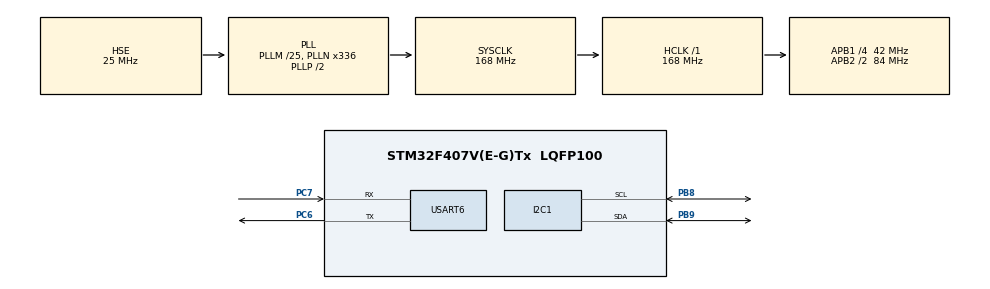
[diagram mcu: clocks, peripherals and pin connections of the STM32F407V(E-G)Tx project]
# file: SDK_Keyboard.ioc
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Mcu.Family=STM32F4
RCC.PLLSourceVirtual=RCC_PLLSOURCE_HSE
PH0-OSC_IN.Signal=RCC_OSC_IN
RCC.CortexFreq_Value=168000000
PC6.Signal=USART6_TX
RCC.APB1CLKDivider=RCC_HCLK_DIV4
RCC.SYSCLKSource=RCC_SYSCLKSOURCE_PLLCLK
ProjectManager.StackSize=0x400
PA13.Signal=SYS_JTMS-SWDIO
ProjectManager.TargetToolchain=STM32CubeIDE
PC6.Mode=Asynchronous
RCC.HCLKFreq_Value=168000000
PB9.Mode=I2C
RCC.APB2TimFreq_Value=168000000
PC7.Signal=USART6_RX
RCC.LSE_VALUE=32768
RCC.AHBFreq_Value=168000000
PH0-OSC_IN.Mode=HSE-External-Oscillator
RCC.HSE_VALUE=25000000
PB3.Mode=JTAG_5_pins
board=custom
RCC.VCOOutputFreq_Value=336000000
PA15.Mode=JTAG_5_pins
RCC.APB2Freq_Value=84000000
PB4.Mode=JTAG_5_pins
PA14.Mode=JTAG_5_pins
PH1-OSC_OUT.Signal=RCC_OSC_OUT
PA13.Mode=JTAG_5_pins
Mcu.Name=STM32F407V(E-G)Tx
PH1-OSC_OUT.Mode=HSE-External-Oscillator
RCC.48MHZClocksFreq_Value=84000000
PB3.Signal=SYS_JTDO-SWO
RCC.SYSCLKFreq_VALUE=168000000
Mcu.Package=LQFP100
PB9.Signal=I2C1_SDA
USART6.VirtualMode=VM_ASYNC
PA14.Signal=SYS_JTCK-SWCLK
PA15.Signal=SYS_JTDI
ProjectManager.HeapSize=0x200
RCC.HSI_VALUE=16000000
NVIC.PriorityGroup=NVIC_PRIORITYGROUP_4
RCC.APB2CLKDivider=RCC_HCLK_DIV2
RCC.PLLM=25
PB8.Mode=I2C
RCC.PLLN=336
RCC.APB1TimFreq_Value=84000000
PB8.Signal=I2C1_SCL
PC7.Mode=Asynchronous
RCC.APB1Freq_Value=42000000
PB4.Signal=SYS_JTRST

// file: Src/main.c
/* USER CODE BEGIN Header */
/**
  ******************************************************************************
  * @file           : main.c
  * @brief          : Main program body
  ******************************************************************************
  * @attention
  *
  * <h2><center>&copy; Copyright (c) 2019 STMicroelectronics.
  * All rights reserved.</center></h2>
  *
  * This software component is licensed by ST under BSD 3-Clause license,
  * the "License"; You may not use this file except in compliance with the
  * License. You may obtain a copy of the License at:
  *                        opensource.org/licenses/BSD-3-Clause
  *
  ******************************************************************************
  */
/* USER CODE END Header */

#include "main.h"
#include "i2c.h"
#include "usart.h"
#include "gpio.h"

/* USER CODE BEGIN Includes */
#include "kb.h"
#include "sdk_uart.h"
#include "pca9538.h"
#include "oled.h"
#include "fonts.h"
/* USER CODE END Includes */

void SystemClock_Config(void);
/* USER CODE BEGIN PFP */
void KB_Test( void );
void OLED_KB( uint8_t OLED_Keys[]);
void oled_Reset( void );
/* USER CODE END PFP */

int main(void)
{

  /* MCU Configuration--------------------------------------------------------*/

  /* Reset of all peripherals, Initializes the Flash interface and the Systick. */
  HAL_Init();

  /* Configure the system clock */
  SystemClock_Config();

  /* Initialize all configured peripherals */
  MX_GPIO_Init();
  MX_I2C1_Init();
  MX_USART6_UART_Init();
  /* USER CODE BEGIN 2 */
  oled_Init();

  /* USER CODE END 2 */

  /* Infinite loop */
  while (1)
  {

    /* USER CODE BEGIN 3 */
	  KB_Test();
	  HAL_Delay(500);

  }
  /* USER CODE END 3 */
}

void SystemClock_Config(void)
{
  RCC_OscInitTypeDef RCC_OscInitStruct = {0};
  RCC_ClkInitTypeDef RCC_ClkInitStruct = {0};

  /** Configure the main internal regulator output voltage
  */
  __HAL_RCC_PWR_CLK_ENABLE();
  __HAL_PWR_VOLTAGESCALING_CONFIG(PWR_REGULATOR_VOLTAGE_SCALE1);
  /** Initializes the CPU, AHB and APB busses clocks
  */
  RCC_OscInitStruct.OscillatorType = RCC_OSCILLATORTYPE_HSE;
  RCC_OscInitStruct.HSEState = RCC_HSE_ON;
  RCC_OscInitStruct.PLL.PLLState = RCC_PLL_ON;
  RCC_OscInitStruct.PLL.PLLSource = RCC_PLLSOURCE_HSE;
  RCC_OscInitStruct.PLL.PLLM = 25;
  RCC_OscInitStruct.PLL.PLLN = 336;
  RCC_OscInitStruct.PLL.PLLP = RCC_PLLP_DIV2;
  RCC_OscInitStruct.PLL.PLLQ = 4;
  if (HAL_RCC_OscConfig(&RCC_OscInitStruct) != HAL_OK)
  {
    Error_Handler();
  }
  /** Initializes the CPU, AHB and APB busses clocks
  */
  RCC_ClkInitStruct.ClockType = RCC_CLOCKTYPE_HCLK|RCC_CLOCKTYPE_SYSCLK
                              |RCC_CLOCKTYPE_PCLK1|RCC_CLOCKTYPE_PCLK2;
  RCC_ClkInitStruct.SYSCLKSource = RCC_SYSCLKSOURCE_PLLCLK;
  RCC_ClkInitStruct.AHBCLKDivider = RCC_SYSCLK_DIV1;
  RCC_ClkInitStruct.APB1CLKDivider = RCC_HCLK_DIV4;
  RCC_ClkInitStruct.APB2CLKDivider = RCC_HCLK_DIV2;

  if (HAL_RCC_ClockConfig(&RCC_ClkInitStruct, FLASH_LATENCY_5) != HAL_OK)
  {
    Error_Handler();
  }
}

/* USER CODE BEGIN 4 */
void KB_Test( void ) {
	UART_Transmit( (uint8_t*)"Timer start\n" );
	uint8_t R = 0, C = 0, L = 0, Row[4] = {0xF7, 0x7B, 0x3D, 0x1E}, Key,
			OldKey;
	uint8_t OLED_Digits[20] = {0x30,0x30,0x30,0x30,0x30,0x30,0x30,0x30,0x30,0x30,0x30,0x30};
	oled_Reset();
	oled_WriteString("Input time: ", Font_7x10, White);
	OLED_PREV_TIME(OLED_Digits, 1);

	oled_UpdateScreen();

	size_t cur_dig_num = 0;
	int update_time = 0;	// 0 - запуск таймера, 1 - начинаем ввод заново
	// Пока не нажали левую нижнюю кнопку, вводим число
	while (Check_Row(Row[0]) != 0x01) {
		if (cur_dig_num < 9) {
			for (uint8_t i = 1; i < 4; i++) {
				// Вводим цифры 1 - 9
				Key = Check_Row(Row[i]);
				if (Key != 0x00) {
					if (Key == 0x04) Key = 0x03;
					OLED_Digits[cur_dig_num] = (uint8_t)((3-i)*3 + (uint8_t)(0x04-Key+0x30));
					cur_dig_num++;
					OLED_PREV_TIME(OLED_Digits, cur_dig_num);
				}
			}

			// Вводим 0
			Key = Check_Row(Row[0]);
			if (Key == 0x02) {
				OLED_Digits[cur_dig_num] = 0x30;
				cur_dig_num++;
				OLED_PREV_TIME(OLED_Digits, cur_dig_num);
			}
		}
		Key = Check_Row(Row[0]);
		if (Key == 0x04) {
			update_time = 1;
			goto reset;
		}

		HAL_Delay(25);
	}

	while (1) {
		for (int i = 0; i < 40; i++) {
			Key = Check_Row(Row[0]);
			if (Key == 0x04) {
				update_time = 1;
				goto reset;
			}
			HAL_Delay(25);
		}
		decrease_digits(OLED_Digits, &cur_dig_num);
		OLED_PREV_TIME(OLED_Digits, cur_dig_num);
	}
	reset:

//	for ( int i = 0; i < 4; i++ ) {
//		while( !( R && C && L ) ) {
//			OldKey = Key;
//			Key = Check_Row( Row[i] );
//			if ( Key == 0x01 && Key != OldKey) {
//				UART_Transmit( (uint8_t*)"Right pressed\n" );
//				R = 1;
//				OLED_Keys[2+3*i] = 0x31;
//				OLED_KB(OLED_Keys);
//			} else if ( Key == 0x02 && Key != OldKey) {
//				UART_Transmit( (uint8_t*)"Center pressed\n" );
//				C = 1;
//				OLED_Keys[1+3*i] = 0x31;
//				OLED_KB(OLED_Keys);
//			} else if ( Key == 0x04 && Key != OldKey) {
//				UART_Transmit( (uint8_t*)"Left pressed\n" );
//				L = 1;
//				OLED_Keys[3*i] = 0x31;
//				OLED_KB(OLED_Keys);
//			}
//		}
//		R = C = L = 0;
//		HAL_Delay(25);
//	}
	UART_Transmit( (uint8_t*)"KB test complete\n");
}

int get_n_digits(int num) {
	if (num == 0)
		return 1;
	int res = 0;
	while (num > 0) {
		res++;
		num /= 10;
	}
	return res;
}

void decrease_digits(uint8_t *OLED_Digits, size_t *length) {
	int num = get_num_from_array(OLED_Digits, *length);
	num--;
	*length = (size_t)get_n_digits(num);
	get_array_from_num(OLED_Digits, *length, num);
}

int get_num_from_array(uint8_t *OLED_Digits, size_t length) {
	int res = 0;
	for (size_t i = 0; i < length; i++) {
		res = res * 10 + (OLED_Digits[i] - 0x30);
	}
	return res;
}

void get_array_from_num(uint8_t *OLED_Digits, size_t length, int num) {
	for (size_t i = length; i > 0; i--) {
		OLED_Digits[i-1] = (num % 10) + 0x30;
		num /= 10;
	}
}

uint8_t get_digit(uint8_t row, uint8_t key) {
	return row * 3 + key;
}

void OLED_PREV_TIME(uint8_t *OLED_Digits, size_t length) {
	oled_SetCursor(1, 15);
	for (int i = 0; i < length; i++) {
		oled_WriteChar(OLED_Digits[i], Font_7x10, White);
	}
	oled_UpdateScreen();
}

void OLED_KB( uint8_t OLED_Keys[12]) {
	for (int i = 3; i >= 0; i--) {
		oled_SetCursor(56, 5+(4-i)*10);
		for (int j = 0; j < 3; j++) {
			oled_WriteChar(OLED_Keys[j+3*i], Font_7x10, White);
		}
	}
	oled_UpdateScreen();
}

void oled_Reset( void ) {
	oled_Fill(Black);
	oled_SetCursor(0, 0);
	oled_UpdateScreen();
}
/* USER CODE END 4 */

void Error_Handler(void)
{
}

/************************ (C) COPYRIGHT STMicroelectronics *****END OF FILE****/
